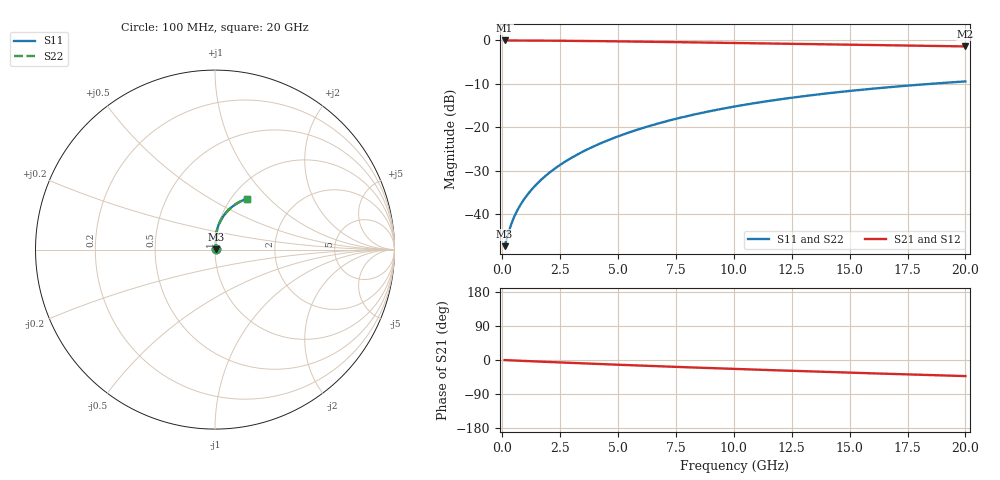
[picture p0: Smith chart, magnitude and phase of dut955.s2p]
! Touchstone file exported from HFSS 2024.1.0
!  File:  C:/UserFiles/LocalFiles/RDL_TSV_Batchsim/temp_RDL_bottom_955_1779942397.aedt
!  Generated:  12:29:03 PM May 28, 2026
!  Design:  RDL_bottom
!  Project:  temp_RDL_bottom_955_1779942397
!  Setup:  Setup1
!  Solution:  Sweep
! Variables:
!  dtsv = 10.80580581um
!  hbump = 3um
!  htsv = 55.67um
!  ldown = 635.94um
!  lrdl = 100um
!  p = 40
!  p1 = 46.62um
!  rhole = 1um
!  t = 450um
!  tdown = 2.46um
!  trdl = 3.915915916um
!  wdown = 25.57um
!  wrdl = 20um
# GHz S MA R 50.000000
! Terminal data exported
! Port[1] = RDL1_T1
! Port[2] = RDL1_T2
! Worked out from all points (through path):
!   200 points, 100 MHz to 20 GHz, reference 50 ohm
!   highest |S21| = -0.03 dB at 100 MHz (marker M1); lowest = -1.4 dB at 20 GHz (marker M2)
!   group delay of S21, straight-line fit = 5.84 ps
!   lowest |S11| = -47.4 dB at 100 MHz (marker M3), VSWR 1.01, Z = 50.4 + j0.172 ohm
!   |S11| at or under -10 dB: start of sweep to 18.57 GHz
!   |S22| runs from -47.4 to -9.5 dB; largest |S21 - S12| = 2e-15
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0.1  0.004249 23.8  0.9961 -0.3  0.9961 -0.3  0.004249 23.8
! Gamma 0 0 0 0
! Port Impedance 50 0 50 0
0.3  0.006496 49.2  0.9956 -0.8  0.9956 -0.8  0.006495 49.2
0.4  0.007785 55.3  0.9954 -1.1  0.9954 -1.1  0.007785 55.3
0.5  0.009074 59.5  0.9951 -1.3  0.9951 -1.3  0.009073 59.5
0.6  0.01035 62.8  0.9948 -1.6  0.9948 -1.6  0.01035 62.8
0.8  0.01292 67.8  0.9943 -2.1  0.9943 -2.1  0.01292 67.7
1  0.01552 71.4  0.9938 -2.6  0.9938 -2.6  0.01551 71.4
1.2  0.01817 74.2  0.9932 -3.1  0.9932 -3.1  0.01817 74.2
1.7  0.02504 78.9  0.9917 -4.4  0.9917 -4.4  0.02504 78.9
2.2  0.03226 81.8  0.9897 -5.7  0.9897 -5.7  0.03226 81.8
2.8  0.04134 83.9  0.9869 -7.2  0.9869 -7.2  0.04134 83.9
3.5  0.0525 85.3  0.9829 -8.9  0.9829 -8.9  0.0525 85.3
4.2  0.06422 85.9  0.9784 -10.6  0.9784 -10.6  0.06421 85.8
5  0.07822 85.8  0.9727 -12.5  0.9727 -12.5  0.0782 85.8
5.9  0.09457 85.2  0.9659 -14.6  0.9659 -14.6  0.09454 85.2
6.8  0.1114 84.1  0.9587 -16.6  0.9587 -16.6  0.1113 84.1
8.4  0.1418 81.4  0.9455 -20.1  0.9455 -20.1  0.1417 81.4
10.1  0.174 78.1  0.9313 -23.7  0.9313 -23.7  0.1739 78.0
11.7  0.2036 74.7  0.9179 -26.9  0.9179 -26.9  0.2035 74.7
13.4  0.2339 71.1  0.9038 -30.3  0.9038 -30.3  0.2338 71.1
16.7  0.2882 64.2  0.8768 -36.5  0.8768 -36.5  0.288 64.2
20  0.3361 57.7  0.8505 -42.5  0.8505 -42.5  0.3359 57.7
